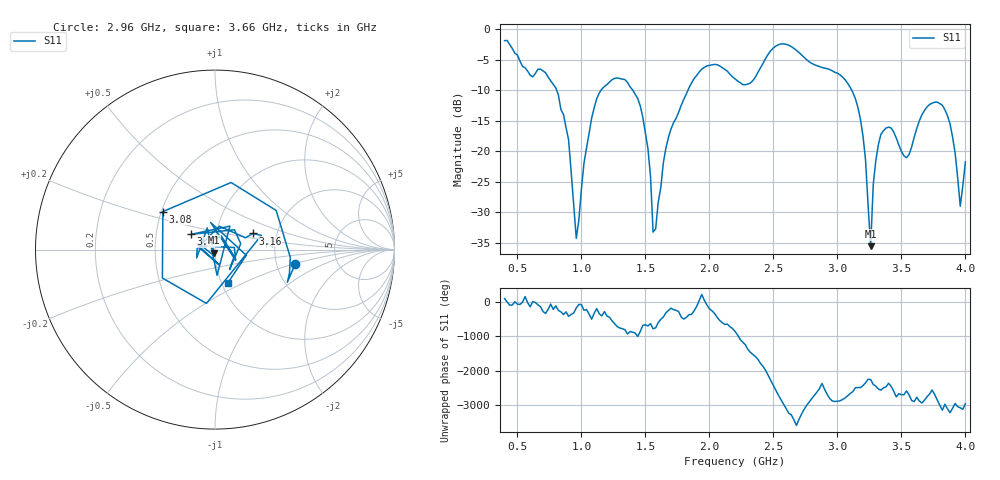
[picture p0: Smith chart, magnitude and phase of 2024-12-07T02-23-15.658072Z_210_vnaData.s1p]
!Created with skrf (http://scikit-rf.org).
# Hz S RI R 50.0
!freq ReS11 ImS11
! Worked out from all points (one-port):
!   181 points, 400 MHz to 4 GHz, reference 50 ohm
!   lowest |S11| = -35.5 dB at 3.26 GHz (marker M1), VSWR 1.03, Z = 49.6 - j1.61 ohm
!   |S11| at or under -10 dB: 806.3 MHz to 1.154 GHz (347.9 MHz wide, 35.5 % of centre); 1.401 GHz to 1.833 GHz (432 MHz wide, 26.7 % of centre); 3.111 GHz to end of sweep
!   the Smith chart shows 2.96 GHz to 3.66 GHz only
!   S11 on the Smith chart (normalised r, x): 2.96 GHz: 2.55, -0.50; 3.08 GHz: 0.51, +0.25; 3.16 GHz: 1.50, +0.28; 3.4 GHz: 0.76, +0.13; 3.66 GHz: 1.07, -0.41
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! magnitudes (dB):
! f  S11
! 400 MHz  -1.9
! 720 MHz  -7.2
! 860 MHz  -14.0
! 900 MHz  -18.2
! 960 MHz  -34.3
! 1.1 GHz  -12.9
! 1.3 GHz  -8.1
! 1.48 GHz  -14.5
! 1.54 GHz  -24.1
! 1.56 GHz  -33.2
! 1.66 GHz  -19.5
! 1.76 GHz  -13.6
! 1.96 GHz  -6.3
! 2.2 GHz  -8.2
! 2.66 GHz  -3.2
! 2.96 GHz  -6.8
! 3.08 GHz  -8.9
! 3.1 GHz  -9.5
! 3.16 GHz  -12.8
! 3.22 GHz  -21.5
! 3.26 GHz  -35.5
! 3.3 GHz  -21.6
! 3.4 GHz  -16.1
! 3.56 GHz  -20.5
! 3.66 GHz  -14.1
! 3.86 GHz  -14.2
! 3.96 GHz  -29.0
! 4 GHz  -21.7
